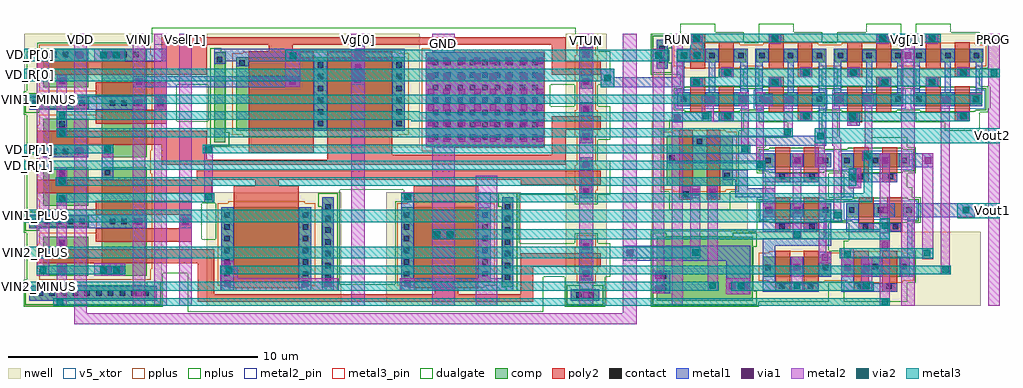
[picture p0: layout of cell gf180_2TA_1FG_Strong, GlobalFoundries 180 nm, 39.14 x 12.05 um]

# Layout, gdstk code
import gdstk
lib = gdstk.Library(unit=1e-6, precision=1e-09)
def R(c, l, rs):  # rectangles x0, y0, x1, y1
    for r in rs: c.add(gdstk.rectangle(r[:2], r[2:], *l))
def A(c, l, x, y, w, h, nx, ny, dx, dy):  # array of equal rectangles
    R(c, l, [(x+i*dx, y+j*dy, x+i*dx+w, y+j*dy+h) for i in range(nx) for j in range(ny)])
nwell = (21, 0)
comp = (22, 0)
poly2 = (30, 0)
pplus = (31, 0)
nplus = (32, 0)
contact = (33, 0)
metal1 = (34, 0)
via1 = (35, 0)
metal2 = (36, 0)
metal2_pin = (36, 10)
via2 = (38, 0)
metal3 = (42, 0)
metal3_pin = (42, 10)
dualgate = (55, 0)
v5_xtor = (112, 1)

gf180_2ta_1fg_strong = lib.new_cell('gf180_2TA_1FG_Strong')
R(gf180_2ta_1fg_strong, nwell, [(-27.5,0,-22,10.9), (-20.2,0,-14.8,4.55), (-13,0,-7.6,4.55), (-5.8,0,-4.15,10.9), (-2.35,0,10.85,2.95), (-2.35,2.95,1.5,7.4), (-20.2,6.35,-11.65,10.9), (-2.35,9.15,11.6,10.9)])
A(gf180_2ta_1fg_strong, comp, -1.3, 8, 2.75, 0.55, 4, 2, 3.15, 1.75)
R(gf180_2ta_1fg_strong, comp, [(-27.3,0.2,-22.2,0.8), (-5.6,0.2,-4.45,0.65), (-2.15,0.2,1.7,2.75), (-15.55,0.75,-15.1,4.35), (-8.35,0.75,-7.9,4.35), (-19.6,0.95,-16,3.95), (-12.4,0.95,-8.8,3.95), (-5.2,1.05,-4.75,2.65), (2.1,1.15,4.85,1.95), (5.25,1.15,8,1.95), (-26.75,1.2,-24.95,2.75), (-24.4,1.2,-22.6,5.55), (-27.3,3.15,-24.95,3.6), (2.1,3.55,4.85,4.1), (5.45,3.55,8.2,4.1), (-26.75,4,-24.95,5.55), (-5.2,4.3,-4.75,5.95), (-1.75,4.8,0.9,6.8), (2.1,5.55,4.85,6.1), (5.25,5.55,8,6.1), (-26.75,5.95,-24.95,7.5), (-24.4,5.95,-22.6,10.3), (-11.4,6.35,-6.65,10.15), (-5.2,6.5,-4.75,8.15), (-19.9,6.55,-19.45,10.15), (-19,7,-12.25,9.95), (-27.3,7.9,-24.95,8.35), (-5.2,8.7,-4.75,10.3), (-26.75,8.75,-24.95,10.3), (-2.15,9.5,-1.7,10.65)])
R(gf180_2ta_1fg_strong, poly2, [(-20.55,0.15,-7.1,0.45), (-20.55,0.45,-19.9,1.7), (-11.05,0.45,-10.1,0.7), (-7.6,0.45,-7.1,1.55), (2.6,0.55,3.2,2.2), (3.75,0.55,4.35,2.2), (5.75,0.55,6.35,2.2), (6.9,0.55,7.5,2.2), (-19.1,0.7,-16.5,4.8), (-11.9,0.7,-9.3,4.8), (-7.6,1.55,-4.4,2.1), (-27,1.7,-19.9,2.25), (-24.65,2.55,-20.8,3.1), (2.6,2.95,3.2,4.35), (3.75,2.95,4.35,4.35), (5.95,2.95,6.55,4.35), (7.1,2.95,7.7,4.35), (-21.3,3.1,-20.8,3.65), (-24.65,3.65,-20.8,4.2), (-1.25,4.25,-0.7,7.05), (-0.15,4.25,0.4,7.05), (-27,4.5,-20,5.05), (-18.25,4.8,-17.3,5.05), (-7.6,4.85,-4.4,5.05), (2.6,4.95,3.2,6.35), (3.75,4.95,4.35,6.35), (5.75,4.95,6.35,6.35), (6.9,4.95,7.5,6.35), (-20.6,5.05,-4.4,5.4), (-22,5.65,-5.8,5.85), (-22,5.85,-20.2,6.45), (-15.35,5.85,-5.8,6.05), (-15.35,6.05,-12.75,10.2), (-6.35,6.05,-5.8,7.05), (-18.5,6.1,-15.9,10.2), (-27,6.45,-20.2,7), (-6.35,7.05,-4.4,7.6), (-24.65,7.3,-21.8,7.85), (5.5,7.35,6.1,8.8), (0.35,7.4,0.95,8.8), (3.5,7.4,4.1,8.8), (9.8,7.4,10.4,8.8), (-0.8,7.75,-0.2,9.15), (2.35,7.75,2.95,9.15), (6.65,7.75,7.25,9.15), (8.65,7.75,9.25,9.15), (-22.3,7.85,-21.8,8.4), (-24.65,8.4,-21.8,8.95), (0.35,9.15,0.95,10.55), (3.5,9.15,4.1,10.55), (5.5,9.15,6.1,10.55), (9.8,9.15,10.4,10.55), (-27,9.25,-20.2,9.8), (-6.35,9.25,-4.4,9.8), (-0.8,9.5,-0.2,10.9), (2.35,9.5,2.95,10.9), (6.65,9.5,7.25,10.9), (8.65,9.5,9.25,10.9), (-22,9.8,-20.2,10.45), (-6.35,9.8,-5.8,10.45), (-17.7,10.2,-16.75,10.45), (-22,10.45,-5.8,10.75)])
A(gf180_2ta_1fg_strong, pplus, -5.43, 4.62, 0.91, 1.01, 1, 3, 0, 2.2)
A(gf180_2ta_1fg_strong, pplus, -1.03, 9.52, 2.21, 0.07, 4, 2, 3.15, 0.94)
R(gf180_2ta_1fg_strong, pplus, [(-19.33,0.72,-16.27,0.79), (-12.13,0.72,-9.07,0.79), (-19.76,0.79,-15.84,4.11), (-12.56,0.79,-8.64,4.11), (-5.36,0.89,-4.59,1.32), (2.37,0.92,4.58,0.99), (5.52,0.92,7.73,0.99), (1.94,0.99,8.16,2.11), (-26.91,1.04,-22.44,1.47), (-5.43,1.32,-4.52,2.33), (-26.98,1.47,-22.37,2.48), (2.37,2.11,4.58,2.18), (5.52,2.11,7.73,2.18), (-5.36,2.33,-4.59,2.81), (-26.91,2.48,-22.37,2.91), (-24.63,2.91,-22.37,3.84), (-26.91,3.84,-22.37,4.27), (-19.33,4.11,-16.27,4.18), (-12.13,4.11,-9.07,4.18), (-5.36,4.14,-4.59,4.62), (-26.98,4.27,-22.37,5.28), (-1.48,4.57,0.63,4.64), (-1.91,4.64,1.06,6.96), (-26.91,5.28,-22.44,6.22), (-5.36,5.63,-4.59,6.82), (-11.56,6.19,-11.06,6.33), (-26.98,6.22,-22.37,7.23), (-11.56,6.33,-6.63,10.17), (-18.73,6.77,-12.52,6.84), (-19.16,6.84,-12.09,10.11), (-1.48,6.96,0.63,7.03), (-26.91,7.23,-22.37,7.66), (-24.63,7.66,-22.37,8.59), (-5.36,7.83,-4.59,9.02), (-26.91,8.59,-22.37,9.02), (-26.98,9.02,-22.37,10.03), (-1.46,9.59,11.06,10.46), (-26.91,10.03,-22.44,10.46), (-5.36,10.03,-4.59,10.46), (-18.73,10.11,-12.52,10.18), (-11.56,10.17,-11.06,10.31)])
A(gf180_2ta_1fg_strong, nplus, -1.03, 7.77, 2.21, 0.07, 4, 2, 3.15, 0.94)
R(gf180_2ta_1fg_strong, nplus, [(-27.46,0.04,-22.04,0.82), (-5.76,0.04,-4.29,0.67), (-2.31,0.04,1.86,0.59), (-15.39,0.59,-14.94,0.73), (-8.19,0.59,-7.74,0.73), (-2.31,0.59,1.72,2.36), (-5.76,0.67,-5.21,0.81), (-4.74,0.67,-4.29,0.81), (-15.57,0.73,-14.94,3.96), (-8.37,0.73,-7.74,3.96), (-27.46,0.82,-26.91,0.96), (-22.59,0.82,-22.04,0.96), (-2.31,2.36,1.86,2.77), (-2.31,2.77,-1.76,2.91), (0.91,2.77,1.86,2.91), (-27.46,2.99,-26.91,3.13), (-27.46,3.13,-24.93,3.62), (2.37,3.32,4.58,3.39), (5.72,3.32,7.93,3.39), (1.94,3.39,8.36,4.26), (-27.46,3.62,-26.91,3.76), (-15.71,3.96,-14.94,4.51), (-8.51,3.96,-7.74,4.51), (2.37,4.26,4.58,4.33), (5.72,4.26,7.93,4.33), (2.37,5.32,4.58,5.39), (5.52,5.32,7.73,5.39), (1.94,5.39,8.16,6.26), (2.37,6.26,4.58,6.33), (5.52,6.26,7.73,6.33), (-20.06,6.39,-19.29,6.94), (-20.06,6.94,-19.43,10.17), (-27.46,7.74,-26.91,7.88), (-1.46,7.84,11.06,8.71), (-27.46,7.88,-24.93,8.37), (-27.46,8.37,-26.91,8.51), (-2.31,9.34,-1.54,9.74), (-2.31,9.74,-1.68,10.31), (-20.06,10.17,-19.61,10.31), (-2.31,10.31,-1.54,10.81)])
A(gf180_2ta_1fg_strong, contact, -26.975, 0.39, 0.22, 0.22, 10, 1, 0.47, 0)
A(gf180_2ta_1fg_strong, contact, -15.435, 1.03, 0.22, 0.22, 1, 7, 0, 0.47)
A(gf180_2ta_1fg_strong, contact, -8.235, 1.03, 0.22, 0.22, 1, 7, 0, 0.47)
A(gf180_2ta_1fg_strong, contact, -19.485, 1.165, 0.22, 0.22, 1, 6, 0, 0.47)
A(gf180_2ta_1fg_strong, contact, -16.335, 1.165, 0.22, 0.22, 1, 6, 0, 0.47)
A(gf180_2ta_1fg_strong, contact, -12.285, 1.165, 0.22, 0.22, 1, 6, 0, 0.47)
A(gf180_2ta_1fg_strong, contact, -9.135, 1.165, 0.22, 0.22, 1, 6, 0, 0.47)
A(gf180_2ta_1fg_strong, contact, 2.215, 1.415, 0.22, 0.22, 3, 2, 1.15, 2.3)
A(gf180_2ta_1fg_strong, contact, -27.175, 3.265, 0.22, 0.22, 5, 2, 0.47, 4.75)
A(gf180_2ta_1fg_strong, contact, -24.08, 3.265, 0.22, 0.22, 3, 2, 0.47, 4.75)
A(gf180_2ta_1fg_strong, contact, 5.565, 3.715, 0.22, 0.22, 3, 1, 1.15, 0)
A(gf180_2ta_1fg_strong, contact, -5.085, 4.465, 0.22, 0.22, 1, 6, 0, 1.1)
A(gf180_2ta_1fg_strong, contact, 2.215, 5.715, 0.22, 0.22, 3, 1, 1.15, 0)
A(gf180_2ta_1fg_strong, contact, 5.365, 5.715, 0.22, 0.22, 3, 1, 1.15, 0)
A(gf180_2ta_1fg_strong, contact, -26.43, 6.065, 0.22, 0.22, 3, 2, 0.47, 3.9)
A(gf180_2ta_1fg_strong, contact, -11.135, 6.64, 0.22, 0.22, 9, 7, 0.5, 0.5)
A(gf180_2ta_1fg_strong, contact, -15.735, 7.19, 0.22, 0.22, 1, 6, 0, 0.47)
A(gf180_2ta_1fg_strong, contact, -12.585, 7.19, 0.22, 0.22, 1, 6, 0, 0.47)
A(gf180_2ta_1fg_strong, contact, -1.185, 8.165, 0.22, 0.22, 3, 2, 1.15, 1.75)
A(gf180_2ta_1fg_strong, contact, 1.965, 8.165, 0.22, 0.22, 3, 2, 1.15, 1.75)
A(gf180_2ta_1fg_strong, contact, 5.115, 8.165, 0.22, 0.22, 3, 2, 1.15, 1.75)
A(gf180_2ta_1fg_strong, contact, 8.265, 8.165, 0.22, 0.22, 3, 2, 1.15, 1.75)
A(gf180_2ta_1fg_strong, contact, -24.08, 9.965, 0.22, 0.22, 3, 1, 0.47, 0)
R(gf180_2ta_1fg_strong, contact, [(-5.37,0.315,-5.15,0.535), (-4.9,0.315,-4.68,0.535), (-1.985,0.605,-1.765,0.825), (2.765,0.665,2.985,0.885), (3.915,0.665,4.135,0.885), (5.915,0.665,6.135,0.885), (7.065,0.665,7.285,0.885), (-1.985,1.075,-1.765,1.295), (-5.085,1.165,-4.865,1.385), (-26.11,1.315,-25.89,1.535), (-24.22,1.315,-24,1.535), (-23.75,1.315,-23.53,1.535), (5.365,1.415,5.585,1.635), (6.515,1.465,6.735,1.685), (7.665,1.465,7.885,1.685), (-5.085,2.265,-4.865,2.485), (-26.11,2.415,-25.89,2.635), (2.765,3.065,2.985,3.285), (3.965,3.065,4.185,3.285), (6.115,3.065,6.335,3.285), (7.315,3.065,7.535,3.285), (-21.16,3.265,-20.94,3.485), (-26.11,4.115,-25.89,4.335), (-1.085,4.365,-0.865,4.585), (0.015,4.365,0.235,4.585), (2.765,5.065,2.985,5.285), (3.965,5.065,4.185,5.285), (5.915,5.065,6.135,5.285), (7.115,5.065,7.335,5.285), (0.565,5.115,0.785,5.335), (-26.11,5.215,-25.89,5.435), (-24.285,5.215,-24.065,5.435), (-1.635,5.815,-1.415,6.035), (-24.285,6.065,-24.065,6.285), (-0.535,6.465,-0.315,6.685), (-26.11,7.165,-25.89,7.385), (0.615,7.515,0.835,7.735), (3.765,7.515,3.985,7.735), (5.665,7.515,5.885,7.735), (10.065,7.515,10.285,7.735), (-22.16,8.015,-21.94,8.235), (-0.685,8.815,-0.465,9.035), (2.465,8.815,2.685,9.035), (6.815,8.815,7.035,9.035), (8.765,8.815,8.985,9.035), (-26.11,8.865,-25.89,9.085), (0.615,9.265,0.835,9.485), (3.765,9.265,3.985,9.485), (5.665,9.265,5.885,9.485), (10.015,9.265,10.235,9.485), (-18.885,9.615,-18.665,9.835), (-2.035,9.73,-1.815,9.95), (-19.785,9.765,-19.565,9.985), (-2.035,10.2,-1.815,10.42), (-0.685,10.565,-0.465,10.785), (2.465,10.565,2.685,10.785), (6.865,10.565,7.085,10.785), (8.765,10.565,8.985,10.785)])
A(gf180_2ta_1fg_strong, metal1, -5.25, 4.3, 0.55, 0.55, 1, 6, 0, 1.1)
A(gf180_2ta_1fg_strong, metal1, -0.05, 8.55, 0.25, 1.2, 3, 1, 3.15, 0)
A(gf180_2ta_1fg_strong, metal1, 8.15, 8.55, 0.25, 1.2, 3, 1, 1.25, 0)
A(gf180_2ta_1fg_strong, metal1, -1.35, 9.75, 0.55, 0.55, 3, 1, 1.15, 0)
A(gf180_2ta_1fg_strong, metal1, 1.8, 9.75, 0.55, 0.55, 3, 1, 1.15, 0)
R(gf180_2ta_1fg_strong, metal1, [(-27.3,0.2,-22.2,0.8), (-5.6,0.2,-4.45,0.65), (0.65,0.45,1.6,1.8), (-2.3,0.5,-1.6,1.4), (2.1,0.55,4.35,0.9), (5.25,0.55,7.5,0.9), (-19.6,0.6,-19.1,3.95), (-16.5,0.6,-16,3.95), (-15.55,0.6,-15.1,4.35), (-12.4,0.6,-7.9,1.1), (2.1,0.9,2.6,2.4), (5.25,0.9,5.75,1.95), (-5.25,1,-4.7,1.55), (-12.4,1.1,-11.9,4.55), (-9.3,1.1,-8.8,4.55), (-8.35,1.1,-7.9,4.35), (3.2,1.15,3.75,1.95), (4.35,1.15,4.85,2.15), (6.05,1.15,6.9,1.95), (7.6,1.15,8.2,1.95), (-26.2,1.2,-25.8,1.7), (-24.4,1.2,-23.45,1.7), (-3.5,1.8,1.6,2.4), (7.9,1.95,8.2,3.55), (-5.25,2.1,-4.7,2.65), (6.8,2.2,7.2,2.95), (-26.2,2.25,-25.8,2.75), (2.1,2.4,4.85,2.7), (4.55,2.7,4.85,3.55), (2.1,2.95,4.3,3.3), (5.45,2.95,7.65,3.3), (-27.3,3.1,-22.6,3.65), (-21.3,3.1,-20.8,3.65), (2.1,3.3,2.6,4.35), (5.45,3.3,5.95,4.1), (3.2,3.55,3.75,4.1), (4.35,3.55,4.85,4.1), (6.55,3.55,7.4,4.1), (7.75,3.55,10.6,4.1), (-26.2,4,-25.8,4.5), (-1.15,4.3,-0.4,4.8), (-0.1,4.3,0.3,4.8), (1,4.35,2.6,4.7), (5.25,4.35,5.75,4.7), (1,4.7,1.5,5.05), (5.25,4.7,6.05,4.95), (2.1,4.95,4.35,5.3), (5.25,4.95,7.5,5.3), (-26.2,5.05,-25.8,5.55), (-24.4,5.05,-23.95,6.45), (0.5,5.05,1.5,5.45), (2.1,5.3,2.6,5.7), (5.25,5.3,6.05,5.5), (5.25,5.5,5.75,6.1), (3.2,5.55,3.75,6.1), (4.2,5.55,4.85,6.1), (6.35,5.55,7.2,6.1), (7.55,5.55,8.95,6.1), (-1.75,5.7,2.6,6.1), (-26.75,5.95,-24.95,6.45), (-11.4,6.35,-6.65,10.15), (-0.7,6.4,4.65,6.8), (-26.2,6.75,-25.8,7.5), (4.35,6.8,4.65,8), (-15.9,7,-15.35,9.8), (-12.75,7,-12.25,9.8), (5.5,7.2,6,7.75), (-1.55,7.35,-1.1,7.4), (-1.55,7.4,0.95,7.75), (3.6,7.4,4.1,7.75), (9.9,7.4,10.4,7.75), (1.85,7.755,2.15,8), (-27.3,7.85,-22.6,8.4), (-22.3,7.85,-21.8,8.4), (-1.35,8,-0.8,8.55), (-0.2,8,0.35,8.55), (0.95,8,1.55,8.55), (1.8,8,2.5,8.5), (2.95,8,3.5,8.5), (4.1,8,4.65,8.55), (4.95,8,5.5,8.55), (6.1,8,6.65,8.5), (7.25,8,7.75,8.5), (8.15,8,8.65,8.55), (9.25,8,9.8,8.55), (10.4,8,10.9,8.55), (1.8,8.5,2.1,9.75), (3.1,8.5,3.5,8.55), (6.1,8.5,6.5,8.55), (7.5,8.5,7.75,9.75), (-1.35,8.55,-1.05,8.75), (1.2,8.55,1.5,9.75), (4.35,8.55,4.65,9.75), (4.95,8.55,5.25,9.8), (-26.2,8.75,-25.8,9.25), (-23.15,8.75,-16.45,9.2), (-4.4,8.75,-1.05,9.15), (2.35,8.75,2.85,9.15), (6.75,8.75,7.25,9.15), (-0.8,8.8,-0.3,9.15), (8.65,8.8,9.15,9.15), (-14.4,8.85,-13.85,9.8), (-4.4,9.15,-3.85,9.5), (-1.35,9.15,-1.05,9.75), (0.45,9.15,0.95,9.5), (3.6,9.15,4.1,9.5), (5.5,9.15,6,9.55), (9.9,9.15,10.4,9.5), (-2.15,9.5,-1.7,9.8), (-19,9.6,-18.5,9.8), (-19.9,9.7,-19.45,9.8), (6.25,9.75,6.65,9.8), (7.25,9.75,8.65,10.25), (9.25,9.75,9.8,10.3), (10.4,9.75,10.95,10.3), (-26.75,9.8,-24.95,10.3), (-24.4,9.8,-21.8,10.3), (-19.9,9.8,-12.25,10.3), (-2.3,9.8,-1.7,10.3), (4.95,9.8,5.5,10.3), (6.1,9.8,6.65,10.25), (7.65,10.25,8.65,10.3), (-2.15,10.3,-1.7,10.65), (6.65,10.5,7.15,10.9), (-0.8,10.55,-0.3,10.9), (2.35,10.55,2.85,10.9), (8.65,10.55,9.15,10.9)])
A(gf180_2ta_1fg_strong, via1, -5.105, 4.445, 0.26, 0.26, 1, 6, 0, 1.1)
A(gf180_2ta_1fg_strong, via1, -11.325, 6.57, 0.26, 0.26, 8, 6, 0.62, 0.62)
A(gf180_2ta_1fg_strong, via1, -14.255, 8.925, 0.26, 0.26, 1, 3, 0, 0.52)
R(gf180_2ta_1fg_strong, via1, [(-5.105,0.295,-4.845,0.555), (-23.03,0.37,-22.77,0.63), (-2.205,0.56,-1.945,0.82), (0.735,0.645,0.995,0.905), (1.255,0.645,1.515,0.905), (-19.48,0.745,-19.22,1.005), (-16.38,0.745,-16.12,1.005), (-15.455,0.745,-15.195,1.005), (-12.28,0.745,-12.02,1.005), (-2.205,1.08,-1.945,1.34), (-5.105,1.145,-4.845,1.405), (-26.13,1.32,-25.87,1.58), (-24.315,1.32,-24.055,1.58), (-23.795,1.32,-23.535,1.58), (5.37,1.395,5.63,1.655), (3.345,1.42,3.605,1.68), (6.145,1.42,6.405,1.68), (-19.48,1.47,-19.22,1.73), (4.47,1.795,4.73,2.055), (-3.355,1.97,-3.095,2.23), (-5.105,2.245,-4.845,2.505), (6.87,2.27,7.13,2.53), (-26.13,2.37,-25.87,2.63), (-23.03,3.245,-22.77,3.505), (-21.18,3.245,-20.92,3.505), (2.22,3.695,2.48,3.955), (3.37,3.695,3.63,3.955), (6.87,3.695,7.13,3.955), (10.12,3.695,10.38,3.955), (-26.13,4.12,-25.87,4.38), (-12.28,4.22,-12.02,4.48), (-0.73,4.42,-0.47,4.68), (-0.03,4.42,0.23,4.68), (5.67,4.97,5.93,5.23), (-26.13,5.17,-25.87,5.43), (3.37,5.695,3.63,5.955), (4.295,5.695,4.555,5.955), (6.87,5.695,7.13,5.955), (8.595,5.695,8.855,5.955), (-25.405,6.07,-25.145,6.33), (-24.305,6.07,-24.045,6.33), (-26.13,6.82,-25.87,7.08), (5.57,7.345,5.83,7.605), (-1.455,7.42,-1.195,7.68), (0.57,7.47,0.83,7.73), (3.72,7.47,3.98,7.73), (10.02,7.47,10.28,7.73), (-23.03,7.995,-22.77,8.255), (-22.18,7.995,-21.92,8.255), (-0.13,8.07,0.13,8.33), (2.045,8.095,2.305,8.355), (3.02,8.095,3.28,8.355), (9.32,8.095,9.58,8.355), (5.02,8.12,5.28,8.38), (1.22,8.145,1.48,8.405), (6.22,8.17,6.48,8.43), (10.52,8.17,10.78,8.43), (-0.68,8.82,-0.42,9.08), (2.495,8.82,2.755,9.08), (6.87,8.82,7.13,9.08), (8.77,8.82,9.03,9.08), (-23.03,8.845,-22.77,9.105), (-16.88,8.845,-16.62,9.105), (-26.13,8.87,-25.87,9.13), (-4.255,8.995,-3.995,9.255), (0.57,9.22,0.83,9.48), (3.72,9.22,3.98,9.48), (5.62,9.22,5.88,9.48), (10.02,9.22,10.28,9.48), (7.795,9.895,8.055,10.155), (-25.405,9.92,-25.145,10.18), (-24.315,9.92,-24.055,10.18), (-23.795,9.92,-23.535,10.18), (-2.205,9.92,-1.945,10.18), (-0.68,10.57,-0.42,10.83), (2.47,10.57,2.73,10.83), (6.77,10.57,7.03,10.83), (8.77,10.57,9.03,10.83)])
R(gf180_2ta_1fg_strong, metal2, [(-25.5,-0.75,-2.95,-0.3), (-25.5,-0.3,-25,10.9), (-3.5,-0.3,-2.95,10.9), (-26.35,0,-25.8,0.3), (-23.15,0,-22.65,10.9), (-22.3,0,-21.8,10.9), (-21.3,0,-20.8,10.9), (-14.4,0,-13.85,10.9), (-11.15,0,-10.25,6.35), (-9.4,0,-8.55,5.2), (-5.25,0,-4.7,10.9), (-1.55,0,-1.1,9.8), (6.8,0,7.2,2.6), (7.65,0,8.2,10.9), (11.15,0,11.6,7.9), (-26.2,0.3,-25.8,1.7), (0.65,0.45,1.6,1.1), (-2.3,0.5,-1.85,10.3), (-19.65,0.6,-14.9,1.1), (-12.45,0.6,-11.85,1.1), (-0.1,0.6,0.3,4.8), (3.25,0.6,3.7,1.95), (6.05,0.6,6.5,1.95), (-19.65,1.1,-18.95,1.6), (5.25,1.15,5.75,2.3), (-27,1.2,-26.5,10.3), (-24.7,1.2,-23.45,1.7), (9.25,1.25,9.6,8), (-19.6,1.6,-19.1,1.8), (4.35,1.7,4.85,2.15), (8.5,1.85,8.95,6.1), (-0.8,1.9,-0.4,4.8), (4.35,2.15,4.65,5.55), (-26.2,2.25,-25.8,4.5), (3.3,2.65,3.65,3.55), (6.8,2.9,7.2,6.1), (4.95,3.35,5.25,6.4), (2.1,3.55,2.6,5.15), (3.3,3.55,3.7,4.1), (9.9,3.55,10.6,4.1), (3.3,4.1,3.65,5.55), (-20.3,4.15,-19.95,6.45), (-12.4,4.15,-11.9,4.55), (5.55,4.7,6.05,5.5), (-26.2,4.8,-25.8,5.55), (1.85,5.45,2.15,8), (3.3,5.55,3.7,6.1), (4.2,5.55,4.65,6.1), (6.1,5.8,6.5,6.2), (-24.4,5.95,-23.95,6.45), (1.25,6.1,1.55,8), (4.2,6.1,4.6,7.1), (6.2,6.2,6.5,8.05), (-11.4,6.35,-6.65,10.15), (4.9,6.4,5.25,6.7), (4.9,6.7,5.2,8), (-26.2,6.75,-25.8,7.15), (2.95,6.75,3.3,8), (5.5,7.2,5.9,7.75), (-0.35,7.4,0.15,8), (0.45,7.4,0.95,7.8), (3.6,7.4,4.1,7.8), (9.9,7.4,10.4,7.8), (-26.2,7.45,-25.8,9.25), (11.2,7.9,11.6,8.8), (-0.35,8,0.2,8.4), (1.15,8,1.55,8.55), (1.85,8,2.5,8.45), (2.95,8,3.35,8.45), (4.9,8,5.35,8.5), (9.25,8,9.65,8.45), (6.2,8.05,6.55,8.1), (6.15,8.1,6.55,8.5), (10.4,8.1,10.9,8.5), (1.85,8.45,2.2,8.55), (-17.05,8.75,-16.45,10.3), (-4.4,8.75,-3.85,9.5), (-0.8,8.75,-0.3,9.15), (2.4,8.75,2.85,9.15), (6.75,8.75,7.25,9.15), (8.65,8.75,9.15,9.15), (11.15,8.8,11.6,10.9), (0.45,9.15,0.95,9.55), (3.6,9.15,4.1,9.55), (5.5,9.15,6,9.55), (9.9,9.15,10.4,9.55), (-24.7,9.8,-23.45,10.3), (-1.55,9.8,-0.25,10.25), (-11.15,10.15,-10.25,10.9), (-1.55,10.25,-1.1,10.9), (-0.8,10.25,-0.3,10.9), (2.35,10.5,2.85,10.9), (6.65,10.5,7.15,10.9), (8.65,10.5,9.15,10.9)])
R(gf180_2ta_1fg_strong, metal2_pin, [(-11.15,10.15,-10.25,10.9), (-5.25,10.35,-4.7,10.9), (-14.4,10.4,-13.85,10.9), (-25.5,10.45,-25,10.9), (-23.15,10.45,-22.65,10.9), (-22.3,10.45,-21.8,10.9), (-21.3,10.45,-20.8,10.9), (-1.55,10.45,-1.1,10.9), (7.65,10.45,8.2,10.9), (11.15,10.45,11.6,10.9)])
R(gf180_2ta_1fg_strong, via2, [(-26.205,0.02,-25.945,0.28), (6.87,0.02,7.13,0.28), (1.095,0.645,1.355,0.905), (-0.03,0.67,0.23,0.93), (3.345,0.67,3.605,0.93), (6.145,0.67,6.405,0.93), (-19.43,1.27,-19.17,1.53), (-26.88,1.295,-26.62,1.555), (-24.465,1.295,-24.205,1.555), (-23.945,1.295,-23.685,1.555), (9.295,1.32,9.555,1.58), (5.37,1.945,5.63,2.205), (8.57,1.97,8.83,2.23), (-0.73,1.995,-0.47,2.255), (-11.09,2.72,-10.83,2.98), (-10.57,2.72,-10.31,2.98), (3.345,2.72,3.605,2.98), (6.87,3.07,7.13,3.33), (4.97,3.495,5.23,3.755), (10.12,3.695,10.38,3.955), (-26.13,4.17,-25.87,4.43), (-20.255,4.22,-19.995,4.48), (-12.255,4.22,-11.995,4.48), (-26.13,4.87,-25.87,5.13), (5.57,5.02,5.83,5.28), (1.87,5.52,2.13,5.78), (6.17,5.87,6.43,6.13), (-20.255,6.12,-19.995,6.38), (-24.305,6.145,-24.045,6.405), (1.27,6.17,1.53,6.43), (4.295,6.67,4.555,6.93), (-26.13,6.795,-25.87,7.055), (2.97,6.82,3.23,7.08), (5.57,7.445,5.83,7.705), (-0.305,7.47,-0.045,7.73), (0.57,7.47,0.83,7.73), (3.72,7.47,3.98,7.73), (10.02,7.47,10.28,7.73), (-26.13,7.495,-25.87,7.755), (10.52,8.145,10.78,8.405), (-0.68,8.82,-0.42,9.08), (2.47,8.82,2.73,9.08), (6.87,8.82,7.13,9.08), (8.77,8.82,9.03,9.08), (-4.255,8.995,-3.995,9.255), (11.245,9.195,11.505,9.455), (0.57,9.22,0.83,9.48), (3.72,9.22,3.98,9.48), (5.62,9.22,5.88,9.48), (10.02,9.22,10.28,9.48), (-16.855,9.87,-16.595,10.13), (-2.205,9.895,-1.945,10.155), (-1.19,9.895,-0.93,10.155), (-0.67,9.895,-0.41,10.155), (-26.88,9.92,-26.62,10.18), (-24.465,9.92,-24.205,10.18), (-23.945,9.92,-23.685,10.18), (-0.68,10.57,-0.42,10.83), (2.47,10.57,2.73,10.83), (6.77,10.57,7.03,10.83), (8.77,10.57,9.03,10.83)])
R(gf180_2ta_1fg_strong, metal3, [(-26.35,0,7.2,0.3), (-27.5,0.6,0.35,0.95), (0.85,0.6,6.55,0.95), (-27,1.25,-23.45,1.6), (-19.65,1.25,9.65,1.6), (-27.5,1.9,-0.4,2.35), (5.2,1.9,8.95,2.3), (-11.15,2.65,7.2,3.05), (6.8,3.05,7.2,3.5), (-27.5,3.35,5.3,3.85), (9.9,3.5,11.6,4.1), (-26.2,4.15,-19.9,4.5), (-12.4,4.15,6.5,4.5), (6.15,4.5,6.5,6.2), (-26.25,4.8,5.85,5.15), (5.55,5.15,5.85,5.5), (-27.5,5.45,2.2,5.8), (-27.5,6.1,-23.95,6.45), (-20.35,6.1,1.6,6.45), (4.2,6.5,11.6,7.1), (-26.2,6.75,3.3,7.1), (-12,7.4,0.05,7.45), (0.35,7.4,10.4,7.75), (-26.2,7.45,0.05,7.75), (-26.2,7.75,-11.65,7.8), (-27.5,8.1,10.9,8.45), (-4.4,8.75,-3.85,9), (-0.8,8.8,9.25,9.15), (-27.5,9,-3.85,9.5), (0.35,9.15,11.6,9.5), (-27.5,9.8,-23.45,10.3), (-17.05,9.8,-1.65,10.25), (-1.35,9.8,-0.25,10.25), (-0.8,10.25,-0.25,10.55), (-0.8,10.55,9.25,10.9)])
R(gf180_2ta_1fg_strong, metal3_pin, [(-27.5,0.6,-27,0.95), (-27.5,1.9,-27,2.35), (-27.5,3.35,-27,3.85), (11.05,3.5,11.6,4.1), (-27.5,5.45,-27.1,5.8), (-27.5,6.1,-27.1,6.45), (11.05,6.5,11.6,7.1), (-27.5,8.1,-27,8.45), (-27.5,9,-27,9.5), (-27.5,9.8,-27,10.3)])
A(gf180_2ta_1fg_strong, dualgate, 1.95, 7.35, 2.55, 0.41, 3, 2, 3.15, 3.19)
A(gf180_2ta_1fg_strong, dualgate, 1.95, 8.79, 2.55, 0.72, 3, 1, 3.15, 0)
R(gf180_2ta_1fg_strong, dualgate, [(-20.95,-0.25,-6.7,0.85), (-27.54,-0.04,-21.96,1.04), (-5.84,-0.04,-4.21,1.15), (-2.39,-0.04,1.94,0.15), (-2.39,0.15,4.75,0.91), (5.35,0.15,7.9,0.91), (-20.95,0.85,-14.86,1.3), (-12.64,0.85,-6.7,1.15), (-2.39,0.91,8.24,2.19), (-27.4,1.04,-21.96,1.3), (-12.64,1.15,-4,2.5), (-27.4,1.3,-14.86,2.65), (-2.39,2.19,4.75,2.99), (5.35,2.19,8.1,2.6), (-12.64,2.5,-7.66,4.19), (-5.44,2.5,-4.51,2.89), (5.55,2.6,8.1,3.31), (-27.4,2.65,-20.4,2.91), (-19.84,2.65,-14.86,4.1), (-27.54,2.91,-20.4,3.84), (1.86,2.99,4.75,3.31), (1.86,3.31,8.44,4.34), (-27.4,3.84,-20.4,4.1), (-1.65,3.85,0.8,4.56), (-5.44,4.06,-4.51,4.45), (-27.4,4.1,-14.86,4.65), (-12.3,4.19,-7.66,4.45), (2.2,4.34,4.75,5.31), (5.35,4.34,8.1,4.75), (-12.3,4.45,-4,4.65), (-1.99,4.56,1.14,7), (-27.4,4.65,-4,5.45), (5.35,4.75,7.9,5.31), (1.86,5.31,8.24,6.34), (-26.99,5.45,-4,5.8), (-26.99,5.8,-4.51,6.05), (-27.4,6.05,-4.51,6.65), (2.2,6.34,4.75,6.75), (4.75,6.34,5.35,6.75), (5.35,6.34,7.9,6.75), (-27.4,6.65,-4,7.4), (3.1,6.75,4.5,7.35), (5.1,6.75,5.35,6.95), (5.35,6.75,6.5,6.95), (5.1,6.95,6.5,7.35), (-1.99,7,1.35,7.04), (9.4,7,10.8,7.35), (-1.65,7.04,1.35,7.45), (-27.4,7.4,-21.4,7.66), (-20.14,7.4,-4,8), (-1.54,7.45,1.35,7.76), (-27.54,7.66,-21.4,8.59), (-1.54,7.76,11.14,8.79), (-20.14,8,-6.41,8.85), (-5.44,8,-4.51,8.85), (-27.4,8.59,-21.4,8.85), (-1.2,8.79,1.35,9.26), (-27.4,8.85,-4,10.2), (-2.39,9.26,1.35,9.51), (-2.39,9.51,11.14,10.54), (-26.99,10.2,-4.51,10.54), (-22.4,10.54,-5.4,11.15), (-2.39,10.54,1.35,10.89), (-1.2,10.89,1.35,10.95), (-1.2,10.95,0.2,11.3), (1.95,10.95,3.35,11.3), (6.25,10.95,7.65,11.3), (8.25,10.95,9.65,11.3)])
A(gf180_2ta_1fg_strong, v5_xtor, -1.4, 7.9, 2.95, 0.75, 4, 1, 3.15, 0)
R(gf180_2ta_1fg_strong, v5_xtor, [(2,3.45,4.95,4.2), (5.35,3.45,8.3,4.2), (2,5.45,4.95,6.2), (5.15,5.45,8.1,6.2)])
gf180_2ta_1fg_strong.add(gdstk.Label('VTUN', (-4.975,10.625), layer=36, texttype=10))
gf180_2ta_1fg_strong.add(gdstk.Label('VDD', (-25.25,10.675), layer=36, texttype=10))
gf180_2ta_1fg_strong.add(gdstk.Label('VINJ', (-22.9,10.675), layer=36, texttype=10))
gf180_2ta_1fg_strong.add(gdstk.Label('Vg[1]', (7.925,10.675), layer=36, texttype=10))
gf180_2ta_1fg_strong.add(gdstk.Label('Vsel[0]', (-22.05,10.675), layer=36, texttype=10))
gf180_2ta_1fg_strong.add(gdstk.Label('Vsel[1]', (-21.05,10.675), layer=36, texttype=10))
gf180_2ta_1fg_strong.add(gdstk.Label('GND', (-10.7,10.525), layer=36, texttype=10))
gf180_2ta_1fg_strong.add(gdstk.Label('Vg[0]', (-14.125,10.65), layer=36, texttype=10))
gf180_2ta_1fg_strong.add(gdstk.Label('PROG', (11.375,10.675), layer=36, texttype=10))
gf180_2ta_1fg_strong.add(gdstk.Label('RUN', (-1.325,10.675), layer=36, texttype=10))
gf180_2ta_1fg_strong.add(gdstk.Label('VD_P[0]', (-27.25,10.05), layer=42, texttype=10))
gf180_2ta_1fg_strong.add(gdstk.Label('VD_R[0]', (-27.25,9.25), layer=42, texttype=10))
gf180_2ta_1fg_strong.add(gdstk.Label('Vout2', (11.325,6.8), layer=42, texttype=10))
gf180_2ta_1fg_strong.add(gdstk.Label('VIN2_PLUS', (-27.25,2.125), layer=42, texttype=10))
gf180_2ta_1fg_strong.add(gdstk.Label('VIN2_MINUS', (-27.25,0.775), layer=42, texttype=10))
gf180_2ta_1fg_strong.add(gdstk.Label('VIN1_PLUS', (-27.25,3.6), layer=42, texttype=10))
gf180_2ta_1fg_strong.add(gdstk.Label('VIN1_MINUS', (-27.25,8.275), layer=42, texttype=10))
gf180_2ta_1fg_strong.add(gdstk.Label('VD_R[1]', (-27.3,5.625), layer=42, texttype=10))
gf180_2ta_1fg_strong.add(gdstk.Label('VD_P[1]', (-27.3,6.275), layer=42, texttype=10))
gf180_2ta_1fg_strong.add(gdstk.Label('Vout1', (11.325,3.8), layer=42, texttype=10))

lib.write_gds('gf180_2TA_1FG_Strong.gds')
